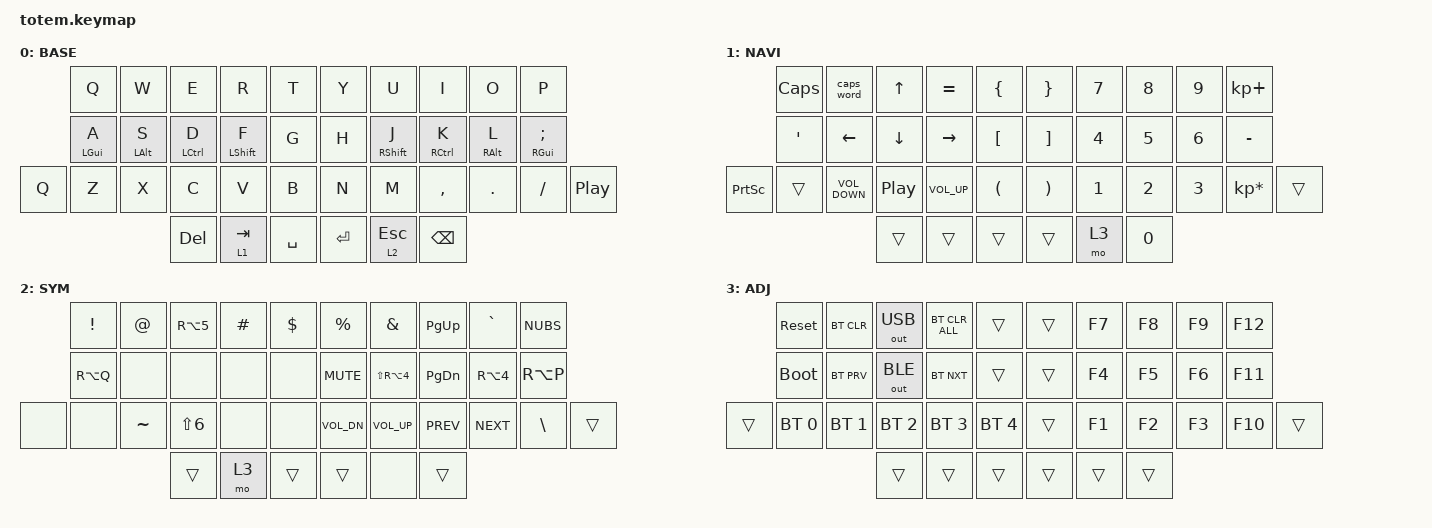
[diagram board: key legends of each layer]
//
//                                                        ▀▀▀▀▀     ▀▀▀▀▀          ▀▀█▀▀
//                                                        ▄▀▀▀▄  ▄  ▄▀▀▀▄  ▄  ▄▀▀▀▄  █  ▄▀▀▀▄
//                                                        █   █  █  █   █  █  █   █  █  █   █
//                                                         ▀▀▀   █   ▀▀▀   █   ▀▀▀   ▀   ▀▀▀
//                                                               █      ▄▄▄█▄▄▄    █   █  
//                                                               ▀      █  █  █     █▄█
//                                                             ▀▀▀▀▀    █  █  █      ▀
//                                                                      ▀  ▀  ▀
//
// ▄▄▄▄▄▄▄▄▄▄▄▄▄▄▄▄▄▄▄▄▄▄▄▄▄▄▄▄▄▄▄▄▄▄▄▄▄▄▄▄▄▄▄▄▄▄▄▄▄▄▄▄▄▄▄▄▄▄▄▄▄▄▄▄▄▄▄▄▄▄▄▄▄▄▄▄▄▄▄▄▄▄▄▄▄▄▄▄▄▄▄▄▄▄▄▄▄▄▄▄▄▄▄▄▄▄▄▄▄▄▄▄▄▄▄▄▄▄▄▄▄▄▄▄▄▄▄▄▄▄▄▄▄▄▄▄▄▄▄▄▄▄▄▄▄▄▄▄▄

#include <behaviors.dtsi>
#include <dt-bindings/zmk/bt.h>
#include <dt-bindings/zmk/keys.h>
#include <dt-bindings/zmk/outputs.h>

#define BASE 0
#define NAV  1
#define SYM  2
#define ADJ  3
#define TVP1 4
#define TVP2 5

&mt {
    quick-tap-ms = <100>;
    global-quick-tap;
    flavor = "tap-preferred";
    tapping-term-ms = <140>;
};

/ {
    combos { compatible = "zmk,combos"; };

    macros {
        gif: gif {
            label = "giphy";
            compatible = "zmk,behavior-macro";
            #binding-cells = <0>;
            bindings =
                <&macro_press>,
                <&kp LSHFT>,
                <&macro_tap>,
                <&kp N2>,
                <&macro_release>,
                <&kp LSHFT>,
                <&macro_tap>,
                <&kp G &kp I &kp F>;
        };
    };

    keymap {
        compatible = "zmk,keymap";

        // ▄▄▄▄▄▄▄▄▄▄▄▄▄▄▄▄▄▄▄▄▄▄▄▄▄▄▄▄▄▄▄▄▄▄▄▄▄▄▄▄▄▄▄▄▄▄▄▄▄▄▄▄▄▄▄▄▄▄▄▄▄▄▄▄▄▄▄▄▄▄▄▄▄▄▄▄▄▄▄▄▄▄▄▄▄▄▄▄▄▄▄▄▄▄▄▄▄▄▄▄▄▄▄▄▄▄▄▄▄▄▄▄▄▄▄▄▄▄▄▄▄▄▄▄▄▄▄▄▄▄▄▄▄▄▄▄▄▄▄▄▄▄▄▄▄▄▄▄▄

        base_layer {
            // ┏━━━━━━━━━━━━━━━━━━━━━━━━━━━━━━━━━━━━━━━┓

            label = "BASE";

            // ┗━━━━━━━━━━━━━━━━━━━━━━━━━━━━━━━━━━━━━━━┛
            //             ┏━━━━━━━━━━━┳━━━━━━━━━━━┳━━━━━━━━━━━┳━━━━━━━━━━━┳━━━━━━━━━━━┓   ┏━━━━━━━━━━━┳━━━━━━━━━━━┳━━━━━━━━━━━┳━━━━━━━━━━━┳━━━━━━━━━━━┓
            //             ┃     Q     ┃     W     ┃     F     ┃     P     ┃     G     ┃   ┃     J     ┃     L     ┃     U     ┃     Y     ┃     ;     ┃
            //             ┣━━━━━━━━━━━╋━━━━━━━━━━━╋━━━━━━━━━━━╋━━━━━━━━━━━╋━━━━━━━━━━━┫   ┣━━━━━━━━━━━╋━━━━━━━━━━━╋━━━━━━━━━━━╋━━━━━━━━━━━╋━━━━━━━━━━━┫
            //             ┃     A     ┃     R     ┃     S     ┃     T     ┃     D     ┃   ┃     H     ┃     N     ┃     E     ┃     I     ┃     O     ┃
            // ┏━━━━━━━━━━━╋━━━━━━━━━━━╋━━━━━━━━━━━╋━━━━━━━━━━━╋━━━━━━━━━━━╋━━━━━━━━━━━┫   ┣━━━━━━━━━━━╋━━━━━━━━━━━╋━━━━━━━━━━━╋━━━━━━━━━━━╋━━━━━━━━━━━╋━━━━━━━━━━━┓
            // ┃     Q     ┃     Z     ┃     X     ┃     C     ┃     V     ┃     B     ┃   ┃     K     ┃     M     ┃     ,     ┃     .     ┃     /     ┃     \     ┃
            // ┗━━━━━━━━━━━┻━━━━━━━━━━━┻━━━━━━━━━━━╋━━━━━━━━━━━╋━━━━━━━━━━━╋━━━━━━━━━━━┫   ┣━━━━━━━━━━━╋━━━━━━━━━━━╋━━━━━━━━━━━╋━━━━━━━━━━━┻━━━━━━━━━━━┻━━━━━━━━━━━┛
            //                                     ┃    DEL    ┃    TAB    ┃    SPC    ┃   ┃   ENTER   ┃           ┃   BSPC    ┃
            //                                     ┗━━━━━━━━━━━┻━━━━━━━━━━━┻━━━━━━━━━━━┛   ┗━━━━━━━━━━━┻━━━━━━━━━━━┻━━━━━━━━━━━┛

            bindings = <
       &kp Q       &kp W       &kp E        &kp R        &kp T        &kp Y    &kp U        &kp I        &kp O       &kp P
       &mt LGUI A  &mt LALT S  &mt LCTRL D  &mt LSHFT F  &kp G        &kp H    &mt RSHFT J  &mt RCTRL K  &mt RALT L  &mt RGUI SEMICOLON
&kp Q  &kp Z       &kp X       &kp C        &kp V        &kp B        &kp N    &kp M        &kp COMMA    &kp DOT     &kp FSLH            &kp C_PLAY_PAUSE
                               &kp DEL      &lt 1 TAB    &kp SPACE    &kp RET  &lt 2 ESC    &kp BSPC
            >;
        };

        // ▄▄▄▄▄▄▄▄▄▄▄▄▄▄▄▄▄▄▄▄▄▄▄▄▄▄▄▄▄▄▄▄▄▄▄▄▄▄▄▄▄▄▄▄▄▄▄▄▄▄▄▄▄▄▄▄▄▄▄▄▄▄▄▄▄▄▄▄▄▄▄▄▄▄▄▄▄▄▄▄▄▄▄▄▄▄▄▄▄▄▄▄▄▄▄▄▄▄▄▄▄▄▄▄▄▄▄▄▄▄▄▄▄▄▄▄▄▄▄▄▄▄▄▄▄▄▄▄▄▄▄▄▄▄▄▄▄▄▄▄▄▄▄▄▄▄▄▄▄

        nav_layer {
            // ┏━━━━━━━━━━━━━━━━━━━━━━━━━━━━━━━━━━━━━━━┓

            label = "NAVI";

            // ┗━━━━━━━━━━━━━━━━━━━━━━━━━━━━━━━━━━━━━━━┛
            //             ┏━━━━━━━━━━━┳━━━━━━━━━━━┳━━━━━━━━━━━┳━━━━━━━━━━━┳━━━━━━━━━━━┓   ┏━━━━━━━━━━━┳━━━━━━━━━━━┳━━━━━━━━━━━┳━━━━━━━━━━━┳━━━━━━━━━━━┓
            //             ┃           ┃           ┃     UP    ┃           ┃     {     ┃   ┃     }     ┃     7     ┃     8     ┃     9     ┃     +     ┃
            //             ┣━━━━━━━━━━━╋━━━━━━━━━━━╋━━━━━━━━━━━╋━━━━━━━━━━━╋━━━━━━━━━━━┫   ┣━━━━━━━━━━━╋━━━━━━━━━━━╋━━━━━━━━━━━╋━━━━━━━━━━━╋━━━━━━━━━━━┫
            //             ┃   SHIFT   ┃   LEFT    ┃    DOWN   ┃   RIGHT   ┃     [     ┃   ┃     ]     ┃     4     ┃     5     ┃     6     ┃     -     ┃
            // ┏━━━━━━━━━━━╋━━━━━━━━━━━╋━━━━━━━━━━━╋━━━━━━━━━━━╋━━━━━━━━━━━╋━━━━━━━━━━━┫   ┣━━━━━━━━━━━╋━━━━━━━━━━━╋━━━━━━━━━━━╋━━━━━━━━━━━╋━━━━━━━━━━━╋━━━━━━━━━━━┓
            // ┃           ┃           ┃   P UP    ┃  C LOCK   ┃  P DOWN   ┃     (     ┃   ┃     )     ┃     1     ┃     2     ┃     3     ┃     *     ┃           ┃
            // ┗━━━━━━━━━━━┻━━━━━━━━━━━┻━━━━━━━━━━━╋━━━━━━━━━━━╋━━━━━━━━━━━╋━━━━━━━━━━━┫   ┣━━━━━━━━━━━╋━━━━━━━━━━━╋━━━━━━━━━━━╋━━━━━━━━━━━┻━━━━━━━━━━━┻━━━━━━━━━━━┛
            //                                     ┃           ┃    TAB    ┃    SPC    ┃   ┃    DEL    ┃     0     ┃           ┃
            //                                     ┗━━━━━━━━━━━┻━━━━━━━━━━━┻━━━━━━━━━━━┛   ┗━━━━━━━━━━━┻━━━━━━━━━━━┻━━━━━━━━━━━┛

            bindings = <
                 &kp CAPSLOCK      &caps_word         &kp UP            &kp EQUAL        &kp LBRC    &kp RBRC  &kp NUMBER_7  &kp NUMBER_8  &kp NUMBER_9  &kp KP_PLUS
                 &kp SINGLE_QUOTE  &kp LEFT           &kp DOWN          &kp RIGHT        &kp LBKT    &kp RBKT  &kp NUMBER_4  &kp NUMBER_5  &kp NUMBER_6  &kp MINUS
&kp PRINTSCREEN  &trans            &kp C_VOLUME_DOWN  &kp C_PLAY_PAUSE  &kp C_VOLUME_UP  &kp LPAR    &kp RPAR  &kp NUMBER_1  &kp NUMBER_2  &kp NUMBER_3  &kp KP_MULTIPLY  &trans
                                                      &trans            &trans           &trans      &trans    &mo 3         &kp NUMBER_0
            >;
        };

        // ▄▄▄▄▄▄▄▄▄▄▄▄▄▄▄▄▄▄▄▄▄▄▄▄▄▄▄▄▄▄▄▄▄▄▄▄▄▄▄▄▄▄▄▄▄▄▄▄▄▄▄▄▄▄▄▄▄▄▄▄▄▄▄▄▄▄▄▄▄▄▄▄▄▄▄▄▄▄▄▄▄▄▄▄▄▄▄▄▄▄▄▄▄▄▄▄▄▄▄▄▄▄▄▄▄▄▄▄▄▄▄▄▄▄▄▄▄▄▄▄▄▄▄▄▄▄▄▄▄▄▄▄▄▄▄▄▄▄▄▄▄▄▄▄▄▄▄▄▄

        sim_layer {
            // ┏━━━━━━━━━━━━━━━━━━━━━━━━━━━━━━━━━━━━━━━┓

            label = "SYM";

            // ┗━━━━━━━━━━━━━━━━━━━━━━━━━━━━━━━━━━━━━━━┛
            //             ┏━━━━━━━━━━━┳━━━━━━━━━━━┳━━━━━━━━━━━┳━━━━━━━━━━━┳━━━━━━━━━━━┓   ┏━━━━━━━━━━━┳━━━━━━━━━━━┳━━━━━━━━━━━┳━━━━━━━━━━━┳━━━━━━━━━━━┓
            //             ┃     !     ┃     @     ┃     #     ┃     $     ┃     %     ┃   ┃     ˆ     ┃     &     ┃     Ü     ┃     '     ┃     "     ┃
            //             ┣━━━━━━━━━━━╋━━━━━━━━━━━╋━━━━━━━━━━━╋━━━━━━━━━━━╋━━━━━━━━━━━┫   ┣━━━━━━━━━━━╋━━━━━━━━━━━╋━━━━━━━━━━━╋━━━━━━━━━━━╋━━━━━━━━━━━┫
            //             ┃     Ä     ┃           ┃    SZ     ┃           ┃           ┃   ┃   MUTE    ┃   YEN     ┃   EURO    ┃  POUND    ┃     Ö     ┃
            // ┏━━━━━━━━━━━╋━━━━━━━━━━━╋━━━━━━━━━━━╋━━━━━━━━━━━╋━━━━━━━━━━━╋━━━━━━━━━━━┫   ┣━━━━━━━━━━━╋━━━━━━━━━━━╋━━━━━━━━━━━╋━━━━━━━━━━━╋━━━━━━━━━━━╋━━━━━━━━━━━┓
            // ┃           ┃  EMAIL1   ┃  EMAIL2   ┃           ┃           ┃           ┃   ┃   VOL-    ┃   VOL+    ┃   LAST    ┃   NEXT    ┃     \     ┃           ┃
            // ┗━━━━━━━━━━━┻━━━━━━━━━━━┻━━━━━━━━━━━╋━━━━━━━━━━━╋━━━━━━━━━━━╋━━━━━━━━━━━┫   ┣━━━━━━━━━━━╋━━━━━━━━━━━╋━━━━━━━━━━━╋━━━━━━━━━━━┻━━━━━━━━━━━┻━━━━━━━━━━━┛
            //                                     ┃           ┃    GIF    ┃    ADJ    ┃   ┃           ┃           ┃           ┃
            //                                     ┗━━━━━━━━━━━┻━━━━━━━━━━━┻━━━━━━━━━━━┛   ┗━━━━━━━━━━━┻━━━━━━━━━━━┻━━━━━━━━━━━┛

            bindings = <
       &kp EXCL   &kp AT     &kp RA(NUMBER_5)  &kp HASH  &kp DOLLAR    &kp PERCENT   &kp AMPS        &kp PAGE_UP    &kp GRAVE   &kp NUBS
       &kp RA(Q)  &none      &none             &none     &none         &kp C_MUTE    &kp LS(RA(N4))  &kp PAGE_DOWN  &kp RA(N4)  &kp RA(P)
&none  &none      &kp TILDE  &kp LS(NUMBER_6)  &none     &none         &kp C_VOL_DN  &kp C_VOL_UP    &kp C_PREV     &kp C_NEXT  &kp BSLH   &trans
                             &trans            &mo 3     &trans        &trans        &none           &trans
            >;
        };

        // ▄▄▄▄▄▄▄▄▄▄▄▄▄▄▄▄▄▄▄▄▄▄▄▄▄▄▄▄▄▄▄▄▄▄▄▄▄▄▄▄▄▄▄▄▄▄▄▄▄▄▄▄▄▄▄▄▄▄▄▄▄▄▄▄▄▄▄▄▄▄▄▄▄▄▄▄▄▄▄▄▄▄▄▄▄▄▄▄▄▄▄▄▄▄▄▄▄▄▄▄▄▄▄▄▄▄▄▄▄▄▄▄▄▄▄▄▄▄▄▄▄▄▄▄▄▄▄▄▄▄▄▄▄▄▄▄▄▄▄▄▄▄▄▄▄▄▄▄▄

        adjust_layer {
            // ┏━━━━━━━━━━━━━━━━━━━━━━━━━━━━━━━━━━━━━━━┓

            label = "ADJ";

            // ┗━━━━━━━━━━━━━━━━━━━━━━━━━━━━━━━━━━━━━━━┛
            //             ┏━━━━━━━━━━━┳━━━━━━━━━━━┳━━━━━━━━━━━┳━━━━━━━━━━━┳━━━━━━━━━━━┓   ┏━━━━━━━━━━━┳━━━━━━━━━━━┳━━━━━━━━━━━┳━━━━━━━━━━━┳━━━━━━━━━━━┓
            //             ┃   RESET   ┃ BT CLEAR  ┃  OUT TOG  ┃           ┃           ┃   ┃           ┃    F7     ┃    F8     ┃    F9     ┃    F12    ┃
            //             ┣━━━━━━━━━━━╋━━━━━━━━━━━╋━━━━━━━━━━━╋━━━━━━━━━━━╋━━━━━━━━━━━┫   ┣━━━━━━━━━━━╋━━━━━━━━━━━╋━━━━━━━━━━━╋━━━━━━━━━━━╋━━━━━━━━━━━┫
            //             ┃ BOOTLOAD  ┃ BT NEXT   ┃           ┃           ┃           ┃   ┃           ┃    F4     ┃    F5     ┃    F6     ┃    F11    ┃
            // ┏━━━━━━━━━━━╋━━━━━━━━━━━╋━━━━━━━━━━━╋━━━━━━━━━━━╋━━━━━━━━━━━╋━━━━━━━━━━━┫   ┣━━━━━━━━━━━╋━━━━━━━━━━━╋━━━━━━━━━━━╋━━━━━━━━━━━╋━━━━━━━━━━━╋━━━━━━━━━━━┓
            // ┃           ┃           ┃ BT PREV   ┃           ┃           ┃           ┃   ┃           ┃    F1     ┃    F2     ┃    F3     ┃    F10    ┃           ┃
            // ┗━━━━━━━━━━━┻━━━━━━━━━━━┻━━━━━━━━━━━╋━━━━━━━━━━━╋━━━━━━━━━━━╋━━━━━━━━━━━┫   ┣━━━━━━━━━━━╋━━━━━━━━━━━╋━━━━━━━━━━━╋━━━━━━━━━━━┻━━━━━━━━━━━┻━━━━━━━━━━━┛
            //                                     ┃           ┃           ┃           ┃   ┃           ┃           ┃           ┃
            //                                     ┗━━━━━━━━━━━┻━━━━━━━━━━━┻━━━━━━━━━━━┛   ┗━━━━━━━━━━━┻━━━━━━━━━━━┻━━━━━━━━━━━┛

            bindings = <
        &sys_reset    &bt BT_CLR    &out OUT_USB  &bt BT_CLR_ALL  &trans          &trans  &kp F7  &kp F8  &kp F9  &kp F12
        &bootloader   &bt BT_PRV    &out OUT_BLE  &bt BT_NXT      &trans          &trans  &kp F4  &kp F5  &kp F6  &kp F11
&trans  &bt BT_SEL 0  &bt BT_SEL 1  &bt BT_SEL 2  &bt BT_SEL 3    &bt BT_SEL 4    &trans  &kp F1  &kp F2  &kp F3  &kp F10  &trans
                                    &trans        &trans          &trans          &trans  &trans  &trans
            >;
        };

        // ▄▄▄▄▄▄▄▄▄▄▄▄▄▄▄▄▄▄▄▄▄▄▄▄▄▄▄▄▄▄▄▄▄▄▄▄▄▄▄▄▄▄▄▄▄▄▄▄▄▄▄▄▄▄▄▄▄▄▄▄▄▄▄▄▄▄▄▄▄▄▄▄▄▄▄▄▄▄▄▄▄▄▄▄▄▄▄▄▄▄▄▄▄▄▄▄▄▄▄▄▄▄▄▄▄▄▄▄▄▄▄▄▄▄▄▄▄▄▄▄▄▄▄▄▄▄▄▄▄▄▄▄▄▄▄▄▄▄▄▄▄▄▄▄▄▄▄▄▄
        // ▄▄▄▄▄▄▄▄▄▄▄▄▄▄▄▄▄▄▄▄▄▄▄▄▄▄▄▄▄▄▄▄▄▄▄▄▄▄▄▄▄▄▄▄▄▄▄▄▄▄▄▄▄▄▄▄▄▄▄▄▄▄▄▄▄▄▄▄▄▄▄▄▄▄▄▄▄▄▄▄▄▄▄▄▄▄▄▄▄▄▄▄▄▄▄▄▄▄▄▄▄▄▄▄▄▄▄▄▄▄▄▄▄▄▄▄▄▄▄▄▄▄▄▄▄▄▄▄▄▄▄▄▄▄▄▄▄▄▄▄▄▄▄▄▄▄▄▄▄
    };
};
